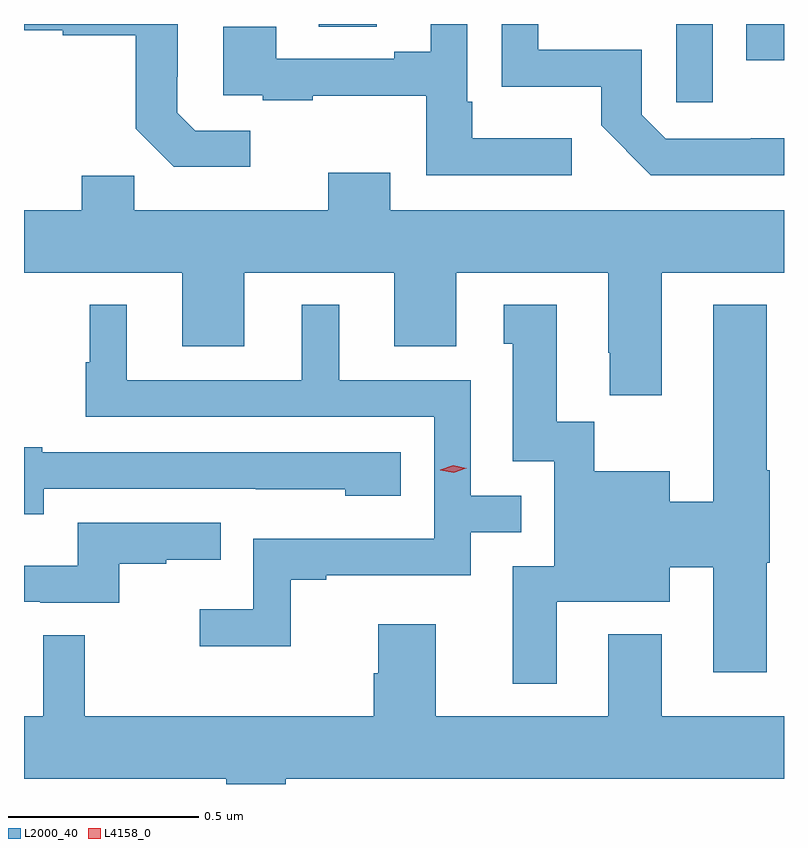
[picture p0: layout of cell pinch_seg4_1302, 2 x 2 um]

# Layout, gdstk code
import gdstk
lib = gdstk.Library(unit=1e-6, precision=1e-09)
def R(c, l, rs):  # rectangles x0, y0, x1, y1
    for r in rs: c.add(gdstk.rectangle(r[:2], r[2:], *l))
def P(c, l, *ps):  # polygons
    for p in ps: c.add(gdstk.Polygon(p, *l))
L2000_40 = (2000, 40)
L4158_0 = (4158, 0)

pinch_seg4_1302 = lib.new_cell('pinch_seg4_1302')
R(pinch_seg4_1302, L2000_40, [(257.529,759.972,257.625,760.178), (257.714,760.082,257.813,760.178), (256.589,760.171,256.741,760.178)])
P(pinch_seg4_1302, L2000_40, [(257.813,759.878),(257.726,759.878),(257.726,759.876),(257.502,759.876),(257.439,759.939),(257.439,760.11),(257.166,760.11),(257.166,760.178),(257.07,760.178),(257.07,760.013),(257.332,760.013),(257.332,759.911),(257.462,759.78),(257.813,759.78)],
  [(256.408,759.897),(256.263,759.897),(256.216,759.944),(256.216,760.039),(256.218,760.039),(256.218,760.178),(255.813,760.178),(255.813,760.161),(255.915,760.161),(255.915,760.149),(256.107,760.149),(256.107,759.903),(256.207,759.803),(256.408,759.803)],
  [(257.254,759.877),(256.993,759.877),(256.993,759.973),(256.98,759.973),(256.98,760.178),(256.883,760.178),(256.883,760.105),(256.787,760.105),(256.787,760.086),(256.477,760.086),(256.477,760.171),(256.337,760.171),(256.337,759.99),(256.441,759.99),(256.441,759.978),(256.573,759.978),(256.573,759.989),(256.872,759.989),(256.872,759.78),(257.254,759.78)],
  [(257.491,759.524),(257.813,759.524),(257.813,759.688),(256.777,759.688),(256.777,759.787),(256.613,759.787),(256.613,759.688),(256.103,759.688),(256.103,759.779),(255.965,759.779),(255.965,759.688),(255.813,759.688),(255.813,759.524),(256.229,759.524),(256.229,759.33),(256.393,759.33),(256.393,759.524),(256.787,759.524),(256.787,759.33),(256.951,759.33),(256.951,759.524),(257.351,759.524),(257.351,759.313),(257.354,759.313),(257.354,759.201),(257.491,759.201)],
  [(256.515,758.715),(256.609,758.715),(256.609,758.727),(256.989,758.727),(256.989,758.841),(257.122,758.841),(257.122,758.937),(256.989,758.937),(256.989,759.24),(256.642,759.24),(256.642,759.439),(256.544,759.439),(256.544,759.24),(256.084,759.24),(256.084,759.439),(255.986,759.439),(255.986,759.288),(255.975,759.288),(255.975,759.144),(256.893,759.144),(256.893,758.823),(256.416,758.823),(256.416,758.638),(256.275,758.638),(256.275,758.54),(256.515,758.54)],
  [(257.215,758.657),(257.512,758.657),(257.512,758.749),(257.627,758.749),(257.627,758.472),(257.767,758.472),(257.767,758.76),(257.775,758.76),(257.775,759.004),(257.767,759.004),(257.767,759.439),(257.627,759.439),(257.627,758.921),(257.512,758.921),(257.512,759.001),(257.313,759.001),(257.313,759.131),(257.215,759.131),(257.215,759.439),(257.075,759.439),(257.075,759.336),(257.099,759.336),(257.099,759.027),(257.208,759.027),(257.208,758.751),(257.099,758.751),(257.099,758.442),(257.215,758.442)],
  [(255.865,758.955),(256.423,758.955),(256.423,758.954),(256.659,758.954),(256.659,758.936),(256.804,758.936),(256.804,759.051),(255.861,759.051),(255.861,759.064),(255.813,759.064),(255.813,758.888),(255.865,758.888)],
  [(256.064,758.757),(256.187,758.757),(256.187,758.768),(256.331,758.768),(256.331,758.865),(255.954,758.865),(255.954,758.753),(255.813,758.753),(255.813,758.658),(255.856,758.658),(255.856,758.655),(256.064,758.655)],
  [(256.502,758.192),(257.813,758.192),(257.813,758.356),(257.491,758.356),(257.491,758.572),(257.351,758.572),(257.351,758.356),(256.897,758.356),(256.897,758.599),(256.745,758.599),(256.745,758.469),(256.733,758.469),(256.733,758.356),(255.973,758.356),(255.973,758.57),(255.864,758.57),(255.864,758.356),(255.813,758.356),(255.813,758.192),(256.345,758.192),(256.345,758.178),(256.502,758.178)])
P(pinch_seg4_1302, L4158_0, [(256.944,758.997),(256.909,759.004),(256.908,759.004),(256.909,759.005),(256.942,759.017),(256.977,759.009),(256.978,759.009),(256.977,759.009)])

lib.write_gds('pinch_seg4_1302.gds')
